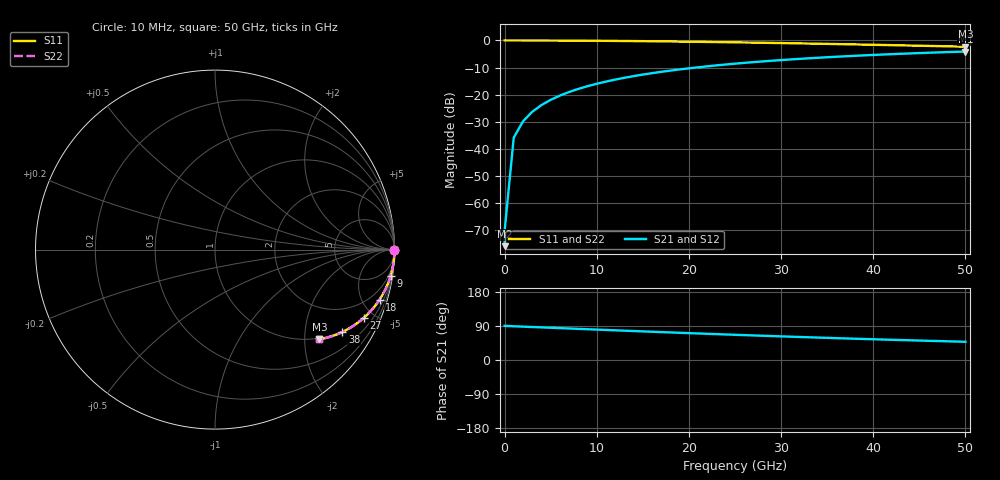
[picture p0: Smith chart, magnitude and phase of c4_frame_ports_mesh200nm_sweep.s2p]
#  GHZ S DB R 50.0
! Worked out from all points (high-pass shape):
!   52 points, 10 MHz to 50 GHz, reference 50 ohm
!   highest |S21| = -4.08 dB at 50 GHz (marker M1); lowest = -75.9 dB at 10 MHz (marker M2)
!   |S21| within 3 dB of the highest: 30.72 GHz to end of sweep
!   lowest |S11| = -2.3 dB at 50 GHz (marker M3), VSWR 7.58, Z = 48.4 - j118 ohm
!   |S11| at or under -10 dB: nowhere
!   |S22| runs from -2.3 to 0.0 dB; largest |S21 - S12| = 8.7e-14
!   S11 on the Smith chart (normalised r, x): 10 MHz: open; 9 GHz: 1, -13; 18 GHz: 0.97, -6.60; 27 GHz: 0.97, -4.39; 38 GHz: 0.97, -3.11; 50 GHz: 0.97, -2.35
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0.01  -0.00 -0.0  -75.87 90.0  -75.87 90.0  -0.00 -0.0
0.02  -0.00 -0.0  -69.85 90.0  -69.85 90.0  -0.00 -0.0
1  -0.00 -1.0  -35.87 89.0  -35.87 89.0  -0.00 -1.0
2  -0.01 -1.9  -29.86 88.0  -29.86 88.0  -0.01 -1.9
3  -0.01 -2.9  -26.34 87.1  -26.34 87.1  -0.01 -2.9
4  -0.02 -3.8  -23.85 86.1  -23.85 86.1  -0.02 -3.8
5  -0.03 -4.8  -21.92 85.1  -21.92 85.1  -0.03 -4.8
6  -0.04 -5.8  -20.35 84.1  -20.35 84.1  -0.04 -5.8
7  -0.06 -6.7  -19.02 83.2  -19.02 83.2  -0.06 -6.7
9  -0.10 -8.6  -16.87 81.2  -16.87 81.2  -0.10 -8.6
11  -0.14 -10.5  -15.17 79.3  -15.17 79.3  -0.14 -10.5
13  -0.20 -12.3  -13.78 77.4  -13.78 77.4  -0.20 -12.3
15  -0.26 -14.2  -12.59 75.5  -12.59 75.5  -0.26 -14.2
17  -0.33 -16.0  -11.57 73.6  -11.57 73.6  -0.33 -16.0
18  -0.37 -16.9  -11.11 72.7  -11.11 72.7  -0.37 -16.9
22  -0.54 -20.4  -9.54 69.1  -9.54 69.1  -0.54 -20.4
26  -0.74 -23.7  -8.27 65.7  -8.27 65.7  -0.74 -23.7
27  -0.79 -24.6  -8.00 64.8  -8.00 64.8  -0.79 -24.5
34  -1.20 -30.0  -6.39 59.2  -6.39 59.2  -1.20 -30.0
38  -1.46 -32.9  -5.66 56.2  -5.66 56.2  -1.46 -32.9
42  -1.73 -35.7  -5.05 53.3  -5.05 53.3  -1.73 -35.7
50  -2.30 -40.7  -4.08 48.1  -4.08 48.1  -2.30 -40.7
